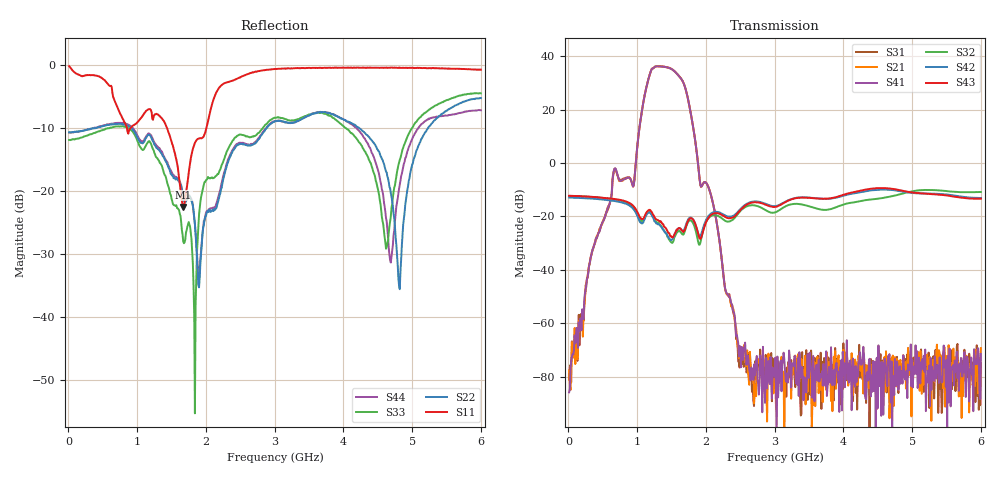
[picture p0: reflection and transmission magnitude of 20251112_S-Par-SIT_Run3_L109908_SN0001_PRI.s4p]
!Keysight Technologies,P5024B,MY61400385,A.19.30.21
!Date: Wednesday, November 12, 2025 11:23:40
!Correction: S11(C  4-Port  )
!S12(C  4-Port  )
!S13(C  4-Port  )
!S14(C  4-Port  )
!S21(C  4-Port  )
!S22(C  4-Port  )
!S23(C  4-Port  )
!S24(C  4-Port  )
!S31(C  4-Port  )
!S32(C  4-Port  )
!S33(C  4-Port  )
!S34(C  4-Port  )
!S41(C  4-Port  )
!S42(C  4-Port  )
!S43(C  4-Port  )
!S44(C  4-Port  )
!S4P File: Measurements: <S11,S12,S13,S14>,
!<S21,S22,S23,S24>,
!<S31,S32,S33,S34>,
!<S41,S42,S43,S44>:
# Hz S  dB  R 50
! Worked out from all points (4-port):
!   600 points, 10 MHz to 6 GHz, reference 50 ohm
!   strongest paths, dB at 10 MHz, 1.51 GHz, 3.01 GHz, 4.51 GHz, 6 GHz:
!     S43: -12.3, -27.8, -16.5, -9.4, -13.4
!     S42: -13.0, -28.6, -16.2, -10.0, -13.1
!     S32: -12.3, -30.0, -18.5, -13.4, -10.9
!     S41: -85.9, 35.0, -72.9, -68.3, -71.5
!     S21: -77.7, 35.0, -80.9, -79.8, -69.3
!     S31: -81.1, 35.1, -82.6, -70.0, -74.9
!   lowest |S11| = -22.5 dB at 1.67 GHz (marker M1), VSWR 1.16, Z = 51.4 + j7.45 ohm
!   |S11| at or under -10 dB: 850.6 MHz to 905.1 MHz (54.43 MHz wide, 6.2 % of centre); 1.434 GHz to 2.006 GHz (572.5 MHz wide, 33.3 % of centre)
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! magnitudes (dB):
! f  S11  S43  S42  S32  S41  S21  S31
! 10 MHz  -0.2  -12.3  -13.0  -12.3  -85.9  -77.7  -81.1
! 1.19 GHz  -7.0  -17.7  -18.7  -18.3  33.7  33.7  33.7
! 1.67 GHz  -22.5  -25.9  -25.4  -26.9  30.2  30.2  30.2
! 2.68 GHz  -1.2  -14.8  -14.5  -15.8  -77.1  -79.3  -82.0
! 4.27 GHz  -0.5  -10.3  -10.8  -14.1  -75.3  -79.7  -76.2
! 4.81 GHz  -0.4  -10.1  -10.5  -11.8  -77.6  -76.9  -74.5
! 6 GHz  -0.8  -13.4  -13.1  -10.9  -71.5  -69.3  -74.9
